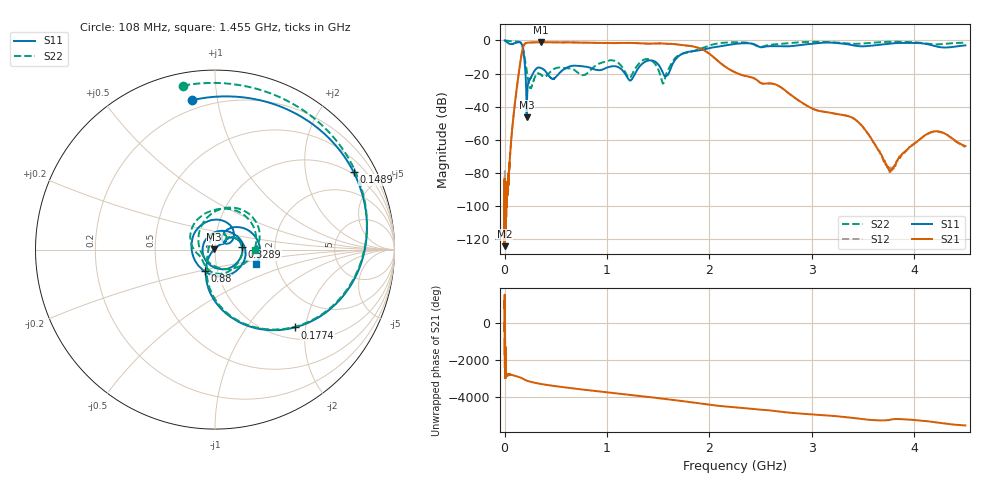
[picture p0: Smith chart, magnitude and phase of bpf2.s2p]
#  HZ  S  RI  R  50.00
! Rohde & Schwarz Vector Network Analyzer
! Rohde-Schwarz,ZNLE4-2Port,1323001254200019,1.80.1.7492-24.08.1.42
! Created: UTC 2/23/2026, 7:02:17 AM
! freq[Hz]  re:S11  im:S11  re:S21  im:S21  re:S12  im:S12  re:S22  im:S22
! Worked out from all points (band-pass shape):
!   5001 points, 1 MHz to 4.5 GHz, reference 50 ohm
!   highest |S21| = -1.05 dB at 359 MHz (marker M1); lowest = -124.1 dB at 1.304 MHz (marker M2)
!   |S21| within 3 dB of the highest: 181.3 MHz to 1.871 GHz (1.69 GHz wide, 165 % of centre)
!   lowest |S11| = -46.3 dB at 216.3 MHz (marker M3), VSWR 1.01, Z = 49.6 + j0.228 ohm
!   |S11| at or under -10 dB: 191.7 MHz to 1.69 GHz (1.498 GHz wide, 159 % of centre)
!   |S22| runs from -28.8 to 0.0 dB; largest |S21 - S12| = 0.0053
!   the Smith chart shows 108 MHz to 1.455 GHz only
!   S11 on the Smith chart (normalised r, x): 108 MHz: 0.15, +0.85; 148.9 MHz: 0.91, +3.62; 177.4 MHz: 1.24, -1.75; 328.9 MHz: 1.36, +0.04; 880 MHz: 0.87, -0.21; 1.455 GHz: 1.56, -0.27
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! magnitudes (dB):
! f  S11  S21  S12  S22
! 1 MHz  0.0  -97.8  -102.8  0.0
! 1.304 MHz  0.0  -124.1  -91.7  0.0
! 4.068 MHz  0.0  -101.2  -91.3  0.0
! 16.52 MHz  -0.5  -91.6  -92.0  -0.1
! 42.88 MHz  -1.8  -81.4  -80.4  -0.3
! 67.08 MHz  -2.2  -58.8  -58.9  -0.5
! 108 MHz  -1.5  -34.5  -34.6  -0.6
! 148.9 MHz  -1.1  -15.4  -15.5  -0.9
! 177.4 MHz  -4.1  -4.9  -5.0  -3.7
! 216.3 MHz  -46.3  -1.4  -1.5  -18.3
! 272.9 MHz  -20.6  -1.2  -1.2  -26.4
! 328.9 MHz  -16.4  -1.1  -1.1  -19.9
! 359 MHz  -16.7  -1.1  -1.1  -20.8
! 880 MHz  -17.5  -1.4  -1.5  -15.6
! 1.108 GHz  -16.0  -1.6  -1.6  -13.4
! 1.455 GHz  -12.3  -1.8  -1.9  -13.1
! 1.892 GHz  -6.0  -4.4  -4.5  -5.4
! 2.667 GHz  -3.5  -27.1  -27.2  -2.2
! 3.386 GHz  -2.7  -46.3  -46.2  -2.0
! 3.759 GHz  -1.9  -78.5  -80.1  -0.8
! 4.172 GHz  -2.9  -55.2  -55.5  -2.2
! 4.5 GHz  -3.0  -63.7  -64.3  -1.4
